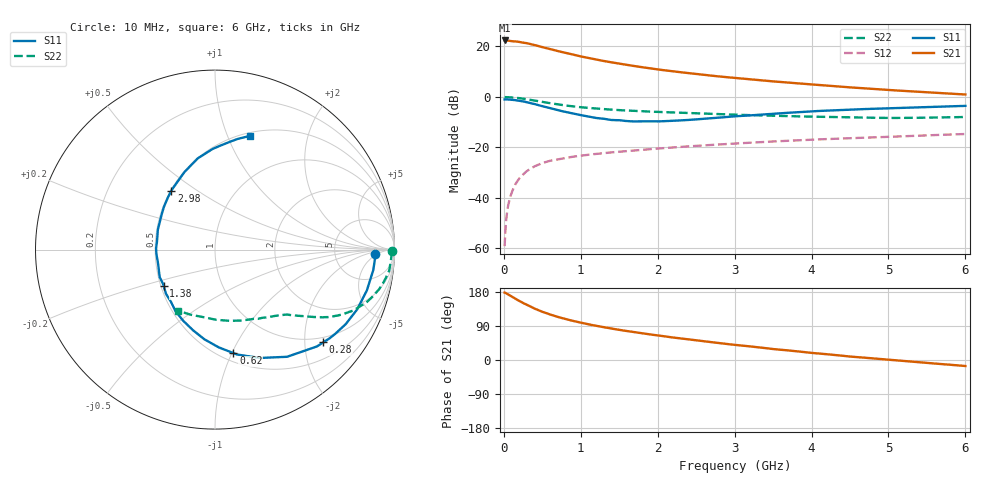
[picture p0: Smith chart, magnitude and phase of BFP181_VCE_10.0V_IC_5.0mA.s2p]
! Infineon Technologies  Discrete & RF Semiconductors
! BFP181
! VCE = 10.0V,  IC =  5.0 mA
! Common Emitter S-Parameters:  Jan 2016
# GHz  S  MA  R  50
!  f  S11  S21  S12  S22
! GHz  MAG  ANG  MAG  ANG  MAG  ANG  MAG  ANG
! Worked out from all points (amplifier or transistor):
!   210 points, 10 MHz to 6 GHz, reference 50 ohm
!   highest |S21| = 22.3 dB at 10 MHz (marker M1)
!   |S21| within 3 dB of that: start of sweep to 549.2 MHz
!   unconditionally stable (mu >= 1): 1.902 GHz to end of sweep
!   at 185 MHz: K = 0.16, MSG = 27.4 dB, |S12| = -33.0 dB
!   at 1.52 GHz: K = 0.90, MSG = 17.4 dB, |S12| = -21.7 dB
!   at 6 GHz: K = 1.08, MAG = 6.1 dB, |S12| = -14.7 dB
!   S11 on the Smith chart (normalised r, x): 10 MHz: 16, -4; 280 MHz: 0.87, -2.43; 620 MHz: 0.58, -1.01; 1.38 GHz: 0.52, -0.24; 2.98 GHz: 0.50, +0.40; 6 GHz: 0.53, +1.20
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0.01  0.8891 -1.5  13.08 177.8  0.0011 71.5  0.9869 -0.6
0.03  0.8912 -4.5  13.05 176.0  0.0036 88.2  0.9838 -2.0
0.08  0.8795 -11.9  12.79 170.1  0.0099 81.7  0.9788 -5.6
0.15  0.8594 -22.8  12.6 161.6  0.0185 77.6  0.9603 -10.4
0.185  0.8433 -27.6  12.35 157.6  0.0224 74.2  0.9466 -12.6
0.28  0.7942 -40.6  11.65 147.6  0.0319 67.4  0.9041 -18.0
0.4  0.7195 -56.1  10.64 135.6  0.042 60.6  0.8427 -23.7
0.5  0.654 -67.4  9.651 127.2  0.0487 55.6  0.7934 -27.2
0.62  0.5856 -79.9  8.718 118.9  0.0547 51.8  0.7405 -30.4
0.7  0.5447 -87.9  8.065 113.7  0.0578 49.6  0.7083 -32.2
0.8  0.5034 -96.7  7.47 107.9  0.0614 47.2  0.674 -33.9
1.02  0.4282 -115.7  6.223 97.6  0.0689 43.6  0.6186 -36.8
1.12  0.4018 -124.0  5.817 93.2  0.072 42.5  0.5995 -38.0
1.38  0.3507 -144.6  4.877 83.7  0.0788 40.3  0.5597 -40.7
1.64  0.3281 -164.0  4.2 75.2  0.085 39.2  0.5311 -43.1
2.02  0.3266 171.3  3.457 64.3  0.0949 37.0  0.5014 -47.3
2.4  0.3483 150.8  2.946 54.4  0.1044 35.2  0.4777 -52.2
2.98  0.4083 126.6  2.387 40.4  0.118 32.2  0.4436 -60.4
3.1  0.4193 122.8  2.296 38.0  0.1209 31.5  0.4378 -62.3
4.1  0.5249 98.7  1.713 17.1  0.1436 25.0  0.4011 -80.5
5.1  0.6002 83.2  1.337 -0.9  0.1633 19.0  0.3817 -101.4
6  0.6614 73.1  1.112 -15.9  0.1834 12.9  0.3982 -121.0
